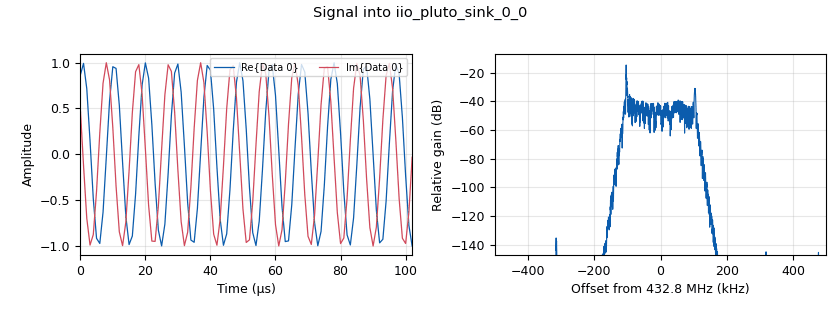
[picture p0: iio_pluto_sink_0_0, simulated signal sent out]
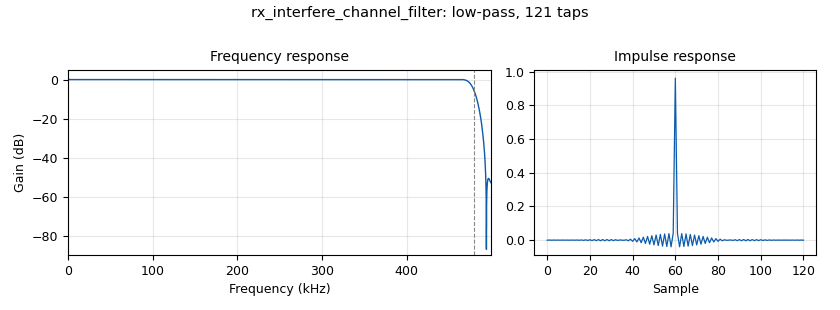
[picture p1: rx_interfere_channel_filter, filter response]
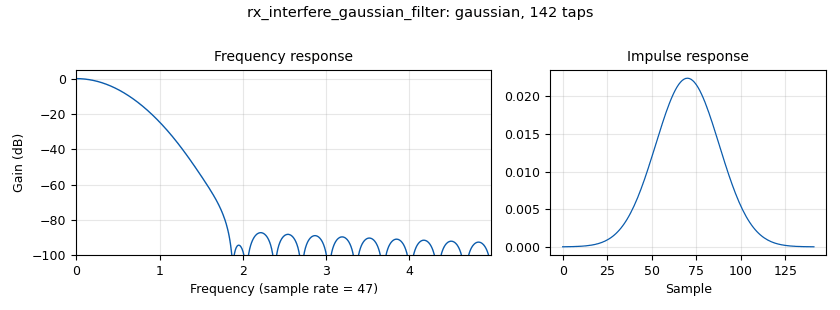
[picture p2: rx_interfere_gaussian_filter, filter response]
options:
  parameters:
    generate_options: qt_gui
    id: top_block
    output_language: python
    title: pluto1
  states: {}

blocks:
- name: bt
  id: variable
  parameters:
    value: '0.35'
  states: {}
- name: frequen_b
  id: variable
  parameters:
    value: '1000000'
  states: {}
- name: rx_center_freq
  id: variable
  parameters:
    value: '433100000'
  states: {}
- name: rx_info_channel_freq
  id: variable
  parameters:
    comment: Selected information RX channel center.
    value: '433200000'
  states: {}
- name: rx_int_bw
  id: variable
  parameters:
    value: '960000'
  states: {}
- name: rx_int_fir_taps
  id: variable
  parameters:
    value: firdes.low_pass(1, samp_rate, rx_int_bw / 2, 20000)
  states: {}
- name: rx_interfere_channel_freq
  id: variable
  parameters:
    comment: Selected interference RX channel center.
    value: '432800000'
  states: {}
- name: samp_rate
  id: variable
  parameters:
    value: '1000000'
  states: {}
- name: sps
  id: variable
  parameters:
    value: '47'
  states: {}
- name: analog_agc_xx_0
  id: analog_agc_xx
  parameters:
    gain: '1.0'
    max_gain: '1000'
    rate: '1e-5'
    reference: '0.5'
    type: complex
  states: {}
- name: analog_quadrature_demod_cf_0
  id: analog_quadrature_demod_cf
  parameters:
    gain: '1.5628'
  states: {}
- name: analog_rail_ff_0
  id: analog_rail_ff
  parameters:
    hi: '1.2'
    lo: '-1.2'
  states: {}
- name: blocks_file_source_0
  id: blocks_file_source
  parameters:
    file: /home/plumery/sdr_project/zmq_send1/build/tx_data.bin
    repeat: 'True'
    type: byte
  states: {}
- name: blocks_stream_to_tagged_stream_0
  id: blocks_stream_to_tagged_stream
  parameters:
    len_tag_key: '18'
    packet_len: '48'
    type: byte
  states: {state: disabled}
- name: blocks_stream_to_tagged_stream_0_0
  id: blocks_stream_to_tagged_stream
  parameters:
    len_tag_key: '18'
    packet_len: '48'
    type: byte
  states: {state: disabled}
- name: blocks_throttle2_0
  id: blocks_throttle2
  parameters:
    samples_per_second: '100000'
    type: byte
  states: {state: disabled}
- name: blocks_uchar_to_float_0
  id: blocks_uchar_to_float
  parameters: {}
  states: {state: disabled}
- name: blocks_unpack_k_bits_bb_0
  id: blocks_unpack_k_bits_bb
  parameters:
    k: '8'
  states: {state: disabled}
- name: blocks_vector_source_x_0
  id: blocks_vector_source_x
  parameters:
    repeat: 'True'
    type: byte
    vector: (0,1,0,127,0,0,1)
  states: {}
- name: digital_binary_slicer_fb_0
  id: digital_binary_slicer_fb
  parameters: {}
  states: {}
- name: digital_gfsk_demod_0_0_0
  id: digital_gfsk_demod
  parameters:
    freq_error: '0.0'
    gain_mu: '0.175'
    mu: '0.5'
    omega_relative_limit: '0.005'
    samples_per_symbol: '47'
    sensitivity: '1.5628'
  states: {state: disabled}
- name: digital_gfsk_mod_0_0
  id: digital_gfsk_mod
  parameters:
    bt: '0.35'
    samples_per_symbol: '47'
    sensitivity: '1.5628'
  states: {}
- name: digital_gfsk_mod_0_0_0
  id: digital_gfsk_mod
  parameters:
    bt: '0.35'
    samples_per_symbol: '47'
    sensitivity: '0.6517'
  states: {}
- name: digital_symbol_sync_xx_0
  id: digital_symbol_sync_xx
  parameters:
    damping: '1.0'
    loop_bw: '0.005'
    max_dev: '1.5'
    osps: '1'
    resamp_type: digital.IR_MMSE_8TAP
    sps: '47'
    ted_gain: '1.0'
    ted_type: digital.TED_ZERO_CROSSING
    type: ff
  states: {}
- name: iio_pluto_sink_0
  id: iio_pluto_sink
  parameters:
    attenuation1: '-40'
    bandwidth: '1000000'
    buffer_size: '32768'
    cyclic: 'False'
    filter_source: '''Auto'''
    frequency: '433200000'
    samplerate: samp_rate
    type: fc32
    uri: 192.168.2.1
  states: {}
- name: iio_pluto_sink_0_0
  id: iio_pluto_sink
  parameters:
    attenuation1: '10'
    bandwidth: '1000000'
    buffer_size: '32768'
    cyclic: 'False'
    filter_source: '''Auto'''
    frequency: '432800000'
    samplerate: samp_rate
    type: fc32
    uri: 192.168.3.1
  states: {}
- name: iio_pluto_source_0
  id: iio_pluto_source
  parameters:
    bandwidth: '1000000'
    bbdc: 'True'
    buffer_size: '32768'
    filter_source: '''Auto'''
    frequency: '433200000'
    gain1: '''manual'''
    manual_gain1: '40'
    quadrature: 'True'
    rfdc: 'True'
    samplerate: samp_rate
    type: fc32
    uri: 192.168.3.1
  states: {}
- name: pdu_tagged_stream_to_pdu_0
  id: pdu_tagged_stream_to_pdu
  parameters:
    tag: '18'
    type: byte
  states: {state: disabled}
- name: pdu_tagged_stream_to_pdu_0_0
  id: pdu_tagged_stream_to_pdu
  parameters:
    tag: '18'
    type: byte
  states: {state: disabled}
- name: qtgui_freq_sink_x_0_0
  id: qtgui_freq_sink_x
  parameters:
    average: '0.05'
    bw: frequen_b
    fc: '433200000'
    fftsize: '1024'
    type: float
  states: {state: disabled}
- name: qtgui_freq_sink_x_0_0_0
  id: qtgui_freq_sink_x
  parameters:
    average: '0.05'
    bw: frequen_b
    fc: '0'
    fftsize: '1024'
    type: float
  states: {state: disabled}
- name: qtgui_time_sink_x_0
  id: qtgui_time_sink_x
  parameters:
    size: '1024'
    srate: samp_rate
    type: complex
  states: {}
- name: qtgui_time_sink_x_0_1
  id: qtgui_time_sink_x
  parameters:
    nconnections: '2'
    size: '1024'
    srate: samp_rate
    type: float
  states: {state: disabled}
- name: qtgui_time_sink_x_0_2
  id: qtgui_time_sink_x
  parameters:
    size: '1024'
    srate: samp_rate
    type: float
  states: {}
- name: rx_interfere_channel_filter
  id: fir_filter_xxx
  parameters:
    decim: '1'
    taps: rx_int_fir_taps
    type: ccc
  states: {}
- name: rx_interfere_freq_shift
  id: blocks_multiply_conjugate_cc
  parameters: {}
  states: {state: disabled}
- name: rx_interfere_gaussian_filter
  id: fir_filter_xxx
  parameters:
    comment: Interference Gaussian match.
    decim: '1'
    taps: firdes.gaussian(1.0, sps, bt, int(3*sps) + 1)
    type: fff
  states: {}
- name: rx_interfere_shift_nco
  id: analog_sig_source_x
  parameters:
    amp: '1'
    freq: '-100000'
    offset: '0'
    phase: '0'
    samp_rate: samp_rate
    type: complex
    waveform: analog.GR_COS_WAVE
  states: {state: disabled}
- name: satellites_sync_to_pdu_packed_0
  id: satellites_sync_to_pdu_packed
  parameters:
    packlen: '19'
    sync: '"0010111101101111010011000111010010111001000101000100100100101110"'
    threshold: '4'
  states: {}
- name: satellites_sync_to_pdu_packed_0_0
  id: satellites_sync_to_pdu_packed
  parameters:
    packlen: '19'
    sync: '"0010111101101111010011000111010010111001000101000100100100101110"'
    threshold: '4'
  states: {state: disabled}
- name: zeromq_pub_msg_sink_0
  id: zeromq_pub_msg_sink
  parameters:
    address: tcp://127.0.0.1:5555
    timeout: '100'
  states: {state: disabled}
- name: zeromq_pub_msg_sink_0_0
  id: zeromq_pub_msg_sink
  parameters:
    address: tcp://127.0.0.1:5555
    timeout: '100'
  states: {state: disabled}
- name: zeromq_pub_msg_sink_0_1
  id: zeromq_pub_msg_sink
  parameters:
    address: tcp://127.0.0.1:5556
    timeout: '100'
  states: {}
- name: zeromq_pub_msg_sink_0_1_0
  id: zeromq_pub_msg_sink
  parameters:
    address: tcp://127.0.0.1:5555
    timeout: '100'
  states: {state: disabled}
- name: zeromq_pub_sink_0
  id: zeromq_pub_sink
  parameters:
    address: tcp://127.0.0.1:5555
    timeout: '100'
    type: byte
  states: {state: disabled}
- name: zeromq_sub_source_0
  id: zeromq_sub_source
  parameters:
    address: tcp://127.0.0.1:5566
    timeout: '100'
    type: byte
  states: {state: disabled}

connections:
- [analog_agc_xx_0, '0', analog_quadrature_demod_cf_0, '0']
- [analog_quadrature_demod_cf_0, '0', analog_rail_ff_0, '0']
- [analog_rail_ff_0, '0', qtgui_freq_sink_x_0_0, '0']
- [analog_rail_ff_0, '0', rx_interfere_gaussian_filter, '0']
- [blocks_file_source_0, '0', digital_gfsk_mod_0_0, '0']
- [blocks_stream_to_tagged_stream_0, '0', pdu_tagged_stream_to_pdu_0, '0']
- [blocks_stream_to_tagged_stream_0_0, '0', pdu_tagged_stream_to_pdu_0_0, '0']
- [blocks_uchar_to_float_0, '0', qtgui_time_sink_x_0_1, '1']
- [blocks_unpack_k_bits_bb_0, '0', blocks_throttle2_0, '0']
- [blocks_vector_source_x_0, '0', digital_gfsk_mod_0_0_0, '0']
- [digital_binary_slicer_fb_0, '0', blocks_stream_to_tagged_stream_0_0, '0']
- [digital_binary_slicer_fb_0, '0', satellites_sync_to_pdu_packed_0, '0']
- [digital_binary_slicer_fb_0, '0', zeromq_pub_sink_0, '0']
- [digital_gfsk_demod_0_0_0, '0', blocks_stream_to_tagged_stream_0, '0']
- [digital_gfsk_demod_0_0_0, '0', blocks_uchar_to_float_0, '0']
- [digital_gfsk_demod_0_0_0, '0', satellites_sync_to_pdu_packed_0_0, '0']
- [digital_gfsk_mod_0_0, '0', iio_pluto_sink_0, '0']
- [digital_gfsk_mod_0_0_0, '0', iio_pluto_sink_0_0, '0']
- [digital_symbol_sync_xx_0, '0', digital_binary_slicer_fb_0, '0']
- [digital_symbol_sync_xx_0, '0', qtgui_time_sink_x_0_1, '0']
- [digital_symbol_sync_xx_0, '1', qtgui_time_sink_x_0_2, '0']
- [iio_pluto_source_0, '0', qtgui_time_sink_x_0, '0']
- [iio_pluto_source_0, '0', rx_interfere_channel_filter, '0']
- [iio_pluto_source_0, '0', rx_interfere_freq_shift, '0']
- [pdu_tagged_stream_to_pdu_0, pdus, zeromq_pub_msg_sink_0, in]
- [pdu_tagged_stream_to_pdu_0_0, pdus, zeromq_pub_msg_sink_0_0, in]
- [rx_interfere_channel_filter, '0', analog_agc_xx_0, '0']
- [rx_interfere_channel_filter, '0', digital_gfsk_demod_0_0_0, '0']
- [rx_interfere_freq_shift, '0', rx_interfere_channel_filter, '0']
- [rx_interfere_gaussian_filter, '0', digital_symbol_sync_xx_0, '0']
- [rx_interfere_gaussian_filter, '0', qtgui_freq_sink_x_0_0_0, '0']
- [rx_interfere_shift_nco, '0', rx_interfere_freq_shift, '1']
- [satellites_sync_to_pdu_packed_0, out, zeromq_pub_msg_sink_0_1, in]
- [satellites_sync_to_pdu_packed_0_0, out, zeromq_pub_msg_sink_0_1_0, in]
- [zeromq_sub_source_0, '0', digital_gfsk_mod_0_0, '0']
- [zeromq_sub_source_0, '0', digital_gfsk_mod_0_0_0, '0']

metadata:
  file_format: 1
  grc_version: 3.10.12.0
